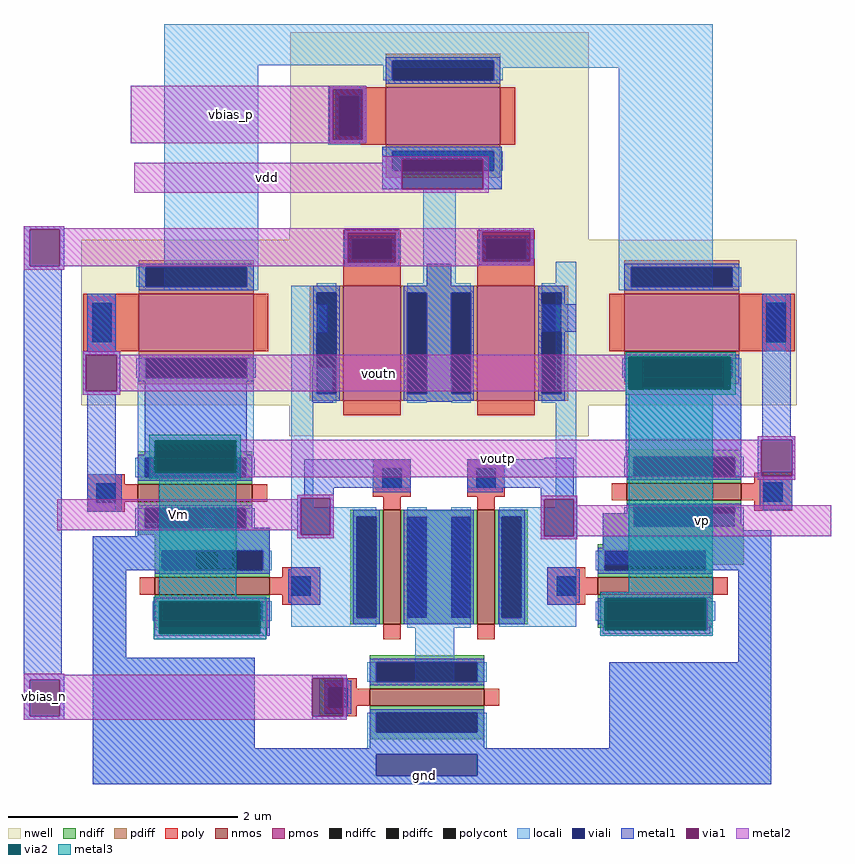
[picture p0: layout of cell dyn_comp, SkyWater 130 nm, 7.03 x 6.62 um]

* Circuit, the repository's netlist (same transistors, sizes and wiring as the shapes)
* NGSPICE file created from dyn_comp.ext - technology: sky130B

.subckt sky130_fd_pr__nfet_01v8_ML4XRG D S G VSUBS
X0 S G D VSUBS sky130_fd_pr__nfet_01v8 ad=0.29 pd=2.58 as=0.29 ps=2.58 w=1 l=0.15
.ends

.subckt sky130_fd_pr__pfet_01v8_KDZMJM D S G w_n144_n198#
X0 S G D w_n144_n198# sky130_fd_pr__pfet_01v8 ad=0.29 pd=2.58 as=0.29 ps=2.58 w=1 l=0.5
.ends

.subckt sky130_fd_pr__nfet_01v8_9ZWGZ9 D S G VSUBS
X0 S G D VSUBS sky130_fd_pr__nfet_01v8 ad=0.29 pd=2.58 as=0.29 ps=2.58 w=1 l=0.15
.ends

.subckt dyn_comp gnd
Xsky130_fd_pr__nfet_01v8_ML4XRG_0 voutp gnd voutn VSUBS sky130_fd_pr__nfet_01v8_ML4XRG
Xsky130_fd_pr__nfet_01v8_ML4XRG_1 gnd voutn voutp VSUBS sky130_fd_pr__nfet_01v8_ML4XRG
Xsky130_fd_pr__pfet_01v8_KDZMJM_0 sky130_fd_pr__pfet_01v8_KDZMJM_3/S voutn voutp w_752_n920#
+ sky130_fd_pr__pfet_01v8_KDZMJM
XXMmirr3 XMmirr3/D vdd vbias_n w_752_n920# sky130_fd_pr__pfet_01v8_KDZMJM
Xsky130_fd_pr__pfet_01v8_KDZMJM_1 vdd sky130_fd_pr__pfet_01v8_KDZMJM_1/S vbias_n w_752_n920#
+ sky130_fd_pr__pfet_01v8_KDZMJM
Xsky130_fd_pr__pfet_01v8_KDZMJM_2 voutp sky130_fd_pr__pfet_01v8_KDZMJM_3/S voutn w_752_n920#
+ sky130_fd_pr__pfet_01v8_KDZMJM
Xsky130_fd_pr__pfet_01v8_KDZMJM_3 vdd sky130_fd_pr__pfet_01v8_KDZMJM_3/S vbias_p w_752_n920#
+ sky130_fd_pr__pfet_01v8_KDZMJM
XXsky130_fd_pr__nfet_01v8_9ZWGZ9_1 voutn gnd sky130_fd_pr__pfet_01v8_KDZMJM_1/S VSUBS
+ sky130_fd_pr__nfet_01v8_9ZWGZ9
Xsky130_fd_pr__nfet_01v8_9ZWGZ9_0 sky130_fd_pr__pfet_01v8_KDZMJM_1/S sky130_fd_pr__nfet_01v8_9ZWGZ9_2/D
+ vp VSUBS sky130_fd_pr__nfet_01v8_9ZWGZ9
Xsky130_fd_pr__nfet_01v8_9ZWGZ9_1 gnd sky130_fd_pr__nfet_01v8_9ZWGZ9_2/D vbias_n VSUBS
+ sky130_fd_pr__nfet_01v8_9ZWGZ9
Xsky130_fd_pr__nfet_01v8_9ZWGZ9_2 sky130_fd_pr__nfet_01v8_9ZWGZ9_2/D XMmirr3/D Vm
+ VSUBS sky130_fd_pr__nfet_01v8_9ZWGZ9
Xsky130_fd_pr__nfet_01v8_9ZWGZ9_3 gnd voutp XMmirr3/D VSUBS sky130_fd_pr__nfet_01v8_9ZWGZ9
.ends

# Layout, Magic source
magic
tech sky130B
magscale 1 2
<< nwell >>
rect 752 -654 1272 -560
rect 752 -754 834 -654
rect 868 -754 1272 -654
rect 752 -760 1272 -754
rect 752 -776 912 -760
rect 752 -788 818 -776
rect 752 -834 912 -788
rect 1120 -834 1272 -760
rect 752 -902 1272 -834
rect 752 -904 956 -902
rect 752 -920 852 -904
rect 934 -920 956 -904
rect 754 -1084 816 -1034
rect 990 -1168 1032 -902
rect 1066 -920 1272 -902
rect 754 -1204 790 -1202
rect 990 -1204 1034 -1168
<< ndiff >>
rect 990 -1396 1036 -1392
rect 516 -1464 716 -1424
rect 958 -1536 1066 -1396
rect 1296 -1418 1530 -1398
rect 1296 -1488 1542 -1418
rect 956 -1592 1066 -1536
<< pdiff >>
rect 792 -1084 816 -1034
rect 990 -1168 1032 -964
rect 990 -1204 1034 -1168
<< poly >>
rect 398 -1118 448 -1016
rect 398 -1396 458 -1330
rect 896 -1362 962 -1304
rect 1060 -1354 1126 -1304
rect 1084 -1362 1122 -1360
rect 1576 -1392 1626 -1326
rect 754 -1558 804 -1492
rect 1200 -1558 1250 -1492
rect 802 -1752 852 -1686
<< locali >>
rect 532 -618 1488 -546
rect 532 -1010 696 -618
rect 916 -622 1488 -618
rect 818 -756 874 -654
rect 912 -834 1120 -760
rect 984 -1000 1040 -834
rect 398 -1118 448 -1016
rect 486 -1302 688 -1162
rect 754 -1168 832 -1002
rect 990 -1168 1032 -1000
rect 754 -1206 826 -1168
rect 990 -1204 1034 -1168
rect 508 -1328 666 -1302
rect 398 -1396 448 -1330
rect 754 -1388 792 -1206
rect 896 -1354 962 -1304
rect 1060 -1354 1126 -1304
rect 1214 -1388 1250 -960
rect 1324 -1010 1488 -622
rect 1360 -1162 1512 -1130
rect 1336 -1302 1538 -1162
rect 482 -1424 520 -1416
rect 482 -1438 716 -1424
rect 408 -1464 716 -1438
rect 408 -1498 586 -1464
rect 408 -1650 466 -1498
rect 754 -1596 902 -1388
rect 956 -1396 958 -1392
rect 990 -1396 1036 -1392
rect 1052 -1396 1056 -1392
rect 956 -1598 1066 -1396
rect 1116 -1596 1250 -1388
rect 1576 -1392 1626 -1326
rect 1296 -1418 1530 -1398
rect 1296 -1428 1542 -1418
rect 1296 -1488 1590 -1428
rect 1488 -1498 1590 -1488
rect 408 -1808 690 -1650
rect 802 -1752 852 -1686
rect 970 -1692 1038 -1598
rect 1532 -1658 1590 -1498
rect 886 -1808 1094 -1746
rect 1308 -1808 1590 -1658
rect 408 -1818 1590 -1808
rect 408 -1856 902 -1818
rect 1078 -1856 1590 -1818
rect 408 -1870 1590 -1856
<< viali >>
rect 902 -1856 1078 -1818
<< metal1 >>
rect 820 -660 884 -654
rect 820 -748 826 -660
rect 878 -748 884 -660
rect 820 -754 884 -748
rect 912 -782 1120 -760
rect 912 -834 946 -782
rect 1088 -834 1120 -782
rect 288 -904 358 -898
rect 288 -968 298 -904
rect 350 -968 358 -904
rect 846 -910 942 -904
rect 846 -962 852 -910
rect 936 -962 942 -910
rect 846 -968 942 -962
rect 1080 -908 1176 -902
rect 1080 -960 1086 -908
rect 1170 -960 1176 -908
rect 288 -974 358 -968
rect 288 -1678 354 -974
rect 398 -1116 448 -1016
rect 792 -1084 816 -1034
rect 390 -1122 456 -1116
rect 390 -1186 396 -1122
rect 450 -1186 456 -1122
rect 390 -1192 456 -1186
rect 398 -1330 448 -1192
rect 498 -1276 676 -1162
rect 790 -1204 826 -1144
rect 990 -1168 1032 -964
rect 1080 -966 1176 -960
rect 1188 -1082 1250 -1034
rect 1360 -1162 1366 -1130
rect 990 -1204 1034 -1168
rect 1336 -1180 1366 -1162
rect 1506 -1162 1512 -1130
rect 1506 -1180 1538 -1162
rect 792 -1206 826 -1204
rect 498 -1328 516 -1276
rect 658 -1328 676 -1276
rect 1336 -1302 1538 -1180
rect 1574 -1264 1624 -1016
rect 1566 -1270 1632 -1264
rect 1194 -1304 1246 -1302
rect 398 -1396 458 -1330
rect 498 -1336 676 -1328
rect 776 -1354 962 -1304
rect 776 -1366 828 -1354
rect 896 -1362 962 -1354
rect 1060 -1354 1246 -1304
rect 1566 -1334 1572 -1270
rect 1626 -1334 1632 -1270
rect 1566 -1340 1632 -1334
rect 1060 -1360 1084 -1354
rect 1060 -1362 1122 -1360
rect 764 -1372 828 -1366
rect 600 -1424 620 -1398
rect 486 -1438 716 -1424
rect 408 -1464 716 -1438
rect 764 -1436 770 -1372
rect 822 -1436 828 -1372
rect 1188 -1368 1246 -1354
rect 1188 -1374 1252 -1368
rect 764 -1442 828 -1436
rect 956 -1396 958 -1392
rect 990 -1396 1036 -1392
rect 1052 -1396 1056 -1392
rect 408 -1498 586 -1464
rect 628 -1492 648 -1464
rect 408 -1650 466 -1498
rect 516 -1554 716 -1552
rect 516 -1606 524 -1554
rect 700 -1606 716 -1554
rect 754 -1558 804 -1492
rect 956 -1592 1066 -1396
rect 1188 -1438 1194 -1374
rect 1246 -1438 1252 -1374
rect 1574 -1392 1626 -1340
rect 1188 -1444 1252 -1438
rect 1296 -1418 1530 -1398
rect 1296 -1428 1542 -1418
rect 1296 -1488 1590 -1428
rect 1200 -1558 1250 -1492
rect 1488 -1498 1590 -1488
rect 1296 -1550 1484 -1544
rect 516 -1612 716 -1606
rect 1296 -1602 1302 -1550
rect 1478 -1602 1484 -1550
rect 1296 -1608 1484 -1602
rect 288 -1688 358 -1678
rect 288 -1752 298 -1688
rect 350 -1752 358 -1688
rect 288 -1758 358 -1752
rect 408 -1808 690 -1650
rect 1532 -1658 1590 -1498
rect 790 -1686 850 -1680
rect 844 -1752 852 -1686
rect 790 -1758 850 -1752
rect 890 -1808 1090 -1782
rect 1308 -1808 1590 -1658
rect 408 -1818 1590 -1808
rect 408 -1856 902 -1818
rect 1078 -1856 1590 -1818
rect 408 -1870 1590 -1856
<< via1 >>
rect 826 -748 878 -660
rect 946 -834 1088 -782
rect 298 -968 350 -904
rect 852 -962 936 -910
rect 1086 -960 1170 -908
rect 396 -1186 450 -1122
rect 1366 -1180 1506 -1128
rect 516 -1328 658 -1276
rect 1572 -1334 1626 -1270
rect 770 -1436 822 -1372
rect 524 -1606 700 -1554
rect 1194 -1438 1246 -1374
rect 1302 -1602 1478 -1550
rect 298 -1752 350 -1688
rect 790 -1752 844 -1686
<< metal2 >>
rect 474 -660 884 -654
rect 474 -748 826 -660
rect 878 -748 884 -660
rect 474 -754 884 -748
rect 912 -782 1098 -776
rect 912 -788 946 -782
rect 480 -834 946 -788
rect 1088 -834 1098 -782
rect 480 -840 1098 -834
rect 288 -902 358 -898
rect 288 -904 1176 -902
rect 288 -968 298 -904
rect 350 -908 1176 -904
rect 350 -910 1086 -908
rect 350 -962 852 -910
rect 936 -960 1086 -910
rect 1170 -960 1176 -908
rect 936 -962 1176 -960
rect 350 -966 1176 -962
rect 350 -968 1080 -966
rect 288 -974 358 -968
rect 390 -1122 456 -1116
rect 1336 -1122 1528 -1118
rect 390 -1186 396 -1122
rect 450 -1126 1528 -1122
rect 450 -1182 1342 -1126
rect 1518 -1182 1528 -1126
rect 450 -1186 1528 -1182
rect 390 -1192 456 -1186
rect 1336 -1192 1528 -1186
rect 506 -1270 666 -1262
rect 1566 -1270 1632 -1264
rect 506 -1272 1572 -1270
rect 506 -1328 516 -1272
rect 658 -1328 1572 -1272
rect 506 -1334 1572 -1328
rect 1626 -1334 1632 -1270
rect 506 -1336 1632 -1334
rect 506 -1338 666 -1336
rect 1566 -1340 1632 -1336
rect 764 -1372 828 -1366
rect 764 -1374 770 -1372
rect 346 -1428 770 -1374
rect 764 -1436 770 -1428
rect 822 -1436 828 -1372
rect 764 -1442 828 -1436
rect 1188 -1374 1252 -1368
rect 1188 -1438 1194 -1374
rect 1246 -1384 1252 -1374
rect 1246 -1438 1694 -1384
rect 1188 -1444 1252 -1438
rect 514 -1552 710 -1544
rect 1292 -1546 1488 -1536
rect 514 -1608 524 -1552
rect 700 -1608 712 -1552
rect 514 -1612 712 -1608
rect 1292 -1602 1300 -1546
rect 1476 -1550 1488 -1546
rect 1478 -1602 1488 -1550
rect 1292 -1612 1488 -1602
rect 514 -1618 710 -1612
rect 288 -1680 358 -1678
rect 288 -1686 850 -1680
rect 288 -1688 790 -1686
rect 288 -1752 298 -1688
rect 350 -1752 790 -1688
rect 844 -1752 850 -1686
rect 288 -1758 850 -1752
<< via2 >>
rect 1342 -1128 1518 -1126
rect 1342 -1180 1366 -1128
rect 1366 -1180 1506 -1128
rect 1506 -1180 1518 -1128
rect 1342 -1182 1518 -1180
rect 516 -1276 658 -1272
rect 516 -1328 658 -1276
rect 524 -1554 700 -1552
rect 524 -1606 700 -1554
rect 524 -1608 700 -1606
rect 1300 -1550 1476 -1546
rect 1300 -1602 1302 -1550
rect 1302 -1602 1476 -1550
<< metal3 >>
rect 1336 -1126 1528 -1118
rect 1336 -1182 1342 -1126
rect 1518 -1182 1528 -1126
rect 1336 -1192 1528 -1182
rect 506 -1272 666 -1262
rect 506 -1328 516 -1272
rect 658 -1328 666 -1272
rect 506 -1338 666 -1328
rect 524 -1544 658 -1338
rect 1342 -1536 1488 -1192
rect 514 -1552 710 -1544
rect 514 -1608 524 -1552
rect 700 -1608 710 -1552
rect 514 -1618 710 -1608
rect 1292 -1546 1488 -1536
rect 1292 -1602 1300 -1546
rect 1476 -1602 1488 -1546
rect 1292 -1612 1488 -1602
use sky130_fd_pr__nfet_01v8_9ZWGZ9  sky130_fd_pr__nfet_01v8_9ZWGZ9_0
transform -1 0 1093 0 1 -1461
box -73 -157 73 157
use sky130_fd_pr__nfet_01v8_9ZWGZ9  sky130_fd_pr__nfet_01v8_9ZWGZ9_1
transform 0 -1 959 1 0 -1719
box -73 -157 73 157
use sky130_fd_pr__nfet_01v8_9ZWGZ9  sky130_fd_pr__nfet_01v8_9ZWGZ9_2
transform -1 0 929 0 1 -1461
box -73 -157 73 157
use sky130_fd_pr__nfet_01v8_9ZWGZ9  sky130_fd_pr__nfet_01v8_9ZWGZ9_3
transform 0 1 647 -1 0 -1525
box -73 -157 73 157
use sky130_fd_pr__nfet_01v8_ML4XRG  sky130_fd_pr__nfet_01v8_ML4XRG_0
transform 0 1 555 -1 0 -1363
box -73 -157 73 157
use sky130_fd_pr__nfet_01v8_ML4XRG  sky130_fd_pr__nfet_01v8_ML4XRG_1
transform 0 -1 1469 1 0 -1361
box -73 -157 73 157
use sky130_fd_pr__pfet_01v8_KDZMJM  sky130_fd_pr__pfet_01v8_KDZMJM_0
transform 0 1 1470 -1 0 -1066
box -144 -198 144 164
use sky130_fd_pr__pfet_01v8_KDZMJM  sky130_fd_pr__pfet_01v8_KDZMJM_1
transform 1 0 1128 0 1 -1066
box -144 -198 144 164
use sky130_fd_pr__pfet_01v8_KDZMJM  sky130_fd_pr__pfet_01v8_KDZMJM_2
transform 0 -1 552 1 0 -1066
box -144 -198 144 164
use sky130_fd_pr__pfet_01v8_KDZMJM  sky130_fd_pr__pfet_01v8_KDZMJM_3
transform 0 -1 982 1 0 -706
box -144 -198 144 164
use sky130_fd_pr__pfet_01v8_KDZMJM  XMmirr3
transform 1 0 894 0 1 -1066
box -144 -198 144 164
use sky130_fd_pr__nfet_01v8_9ZWGZ9  Xsky130_fd_pr__nfet_01v8_9ZWGZ9_1
transform 0 -1 1357 1 0 -1525
box -73 -157 73 157
<< labels >>
rlabel metal2 346 -1428 770 -1374 1 Vm
rlabel metal2 1246 -1438 1694 -1384 1 vp
rlabel metal2 480 -840 946 -788 1 vdd
rlabel metal2 474 -754 826 -654 1 vbias_p
rlabel metal2 658 -1336 1572 -1270 1 voutp
rlabel metal2 450 -1186 1366 -1122 1 voutn
flabel metal1 886 -1870 1086 -1842 0 FreeSans 80 0 0 0 gnd
port 3 nsew
rlabel metal2 288 -1758 358 -1678 1 vbias_n
<< end >>

# cell sky130_fd_pr__nfet_01v8_9ZWGZ9: kit device sky130_fd_pr__nfet_01v8, w 1.0 l 0.15 m 1 nf 1 diffcov 100 polycov 100 guard 0 glc 0 grc 0 gtc 0 gbc 0 tbcov 100 rlcov 100 topc 1 botc 0 poverlap 0 doverlap 1 lmin 0.15 wmin 0.42 class mosfet compatible {sky130_fd_pr__nfet_01v8 sky130_fd_pr__nfet_01v8_lvt sky130_fd_bs_flash__special_sonosfet_star sky130_fd_pr__nfet_g5v0d10v5 sky130_fd_pr__nfet_05v0_nvt sky130_fd_pr__nfet_03v3_nvt} full_metal 0 conn_gates 0 viasrc 100 viadrn 100 viagate 100 viagb 0 viagr 0 viagl 0 viagt 0 doports 1

# cell sky130_fd_pr__nfet_01v8_ML4XRG: kit device sky130_fd_pr__nfet_01v8, w 1.0 l 0.15 m 1 nf 1 diffcov 100 polycov 100 guard 0 glc 0 grc 0 gtc 0 gbc 0 tbcov 100 rlcov 100 topc 0 botc 1 poverlap 0 doverlap 1 lmin 0.15 wmin 0.42 class mosfet compatible {sky130_fd_pr__nfet_01v8 sky130_fd_pr__nfet_01v8_lvt sky130_fd_bs_flash__special_sonosfet_star sky130_fd_pr__nfet_g5v0d10v5 sky130_fd_pr__nfet_05v0_nvt sky130_fd_pr__nfet_03v3_nvt} full_metal 0 conn_gates 0 viasrc 100 viadrn 100 viagate 100 viagb 0 viagr 0 viagl 0 viagt 0 doports 1

# cell sky130_fd_pr__pfet_01v8_KDZMJM: kit device sky130_fd_pr__pfet_01v8, w 1.0 l 0.5 m 1 nf 1 diffcov 100 polycov 100 guard 0 glc 0 grc 0 gtc 0 gbc 0 tbcov 100 rlcov 100 topc 1 botc 0 poverlap 0 doverlap 1 lmin 0.15 wmin 0.42 class mosfet compatible {sky130_fd_pr__pfet_01v8 sky130_fd_pr__pfet_01v8_lvt sky130_fd_pr__pfet_01v8_hvt sky130_fd_pr__pfet_g5v0d10v5} full_metal 0 conn_gates 0 viasrc 100 viadrn 100 viagate 100 viagb 0 viagr 0 viagl 0 viagt 0 doports 1
